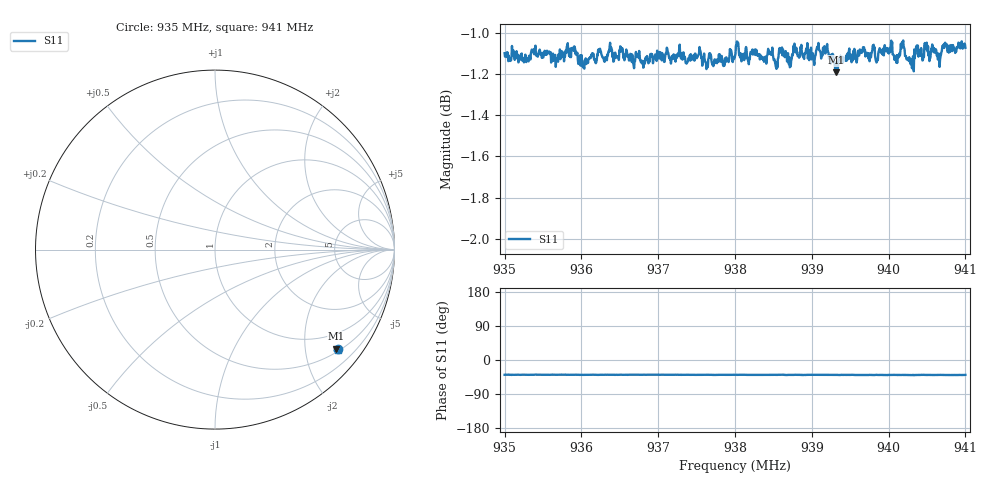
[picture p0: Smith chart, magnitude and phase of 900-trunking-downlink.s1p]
! Calibrated averaged scanner-service zoom
# Hz S RI R 50
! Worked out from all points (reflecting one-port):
!   1001 points, 935 MHz to 941 MHz, reference 50 ohm
!   lowest |S11| = -1.2 dB at 939.314 MHz (marker M1), VSWR 14.62, Z = 29.3 - j135 ohm
!   phase of S11 starts at -39 deg and turns -0 deg over the sweep
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9.35e8  0.6845 -0.5551
9.35306e8  0.68 -0.5546
9.35426e8  0.6879 -0.55
9.3557e8  0.6835 -0.5567
9.3575e8  0.6878 -0.5522
9.35834e8  0.685 -0.5565
9.36038e8  0.6781 -0.5508
9.36146e8  0.6853 -0.5519
9.3623e8  0.6829 -0.5583
9.365e8  0.6862 -0.554
9.36674e8  0.682 -0.55
9.3725e8  0.6844 -0.553
9.3773e8  0.6773 -0.5574
9.38e8  0.6862 -0.5506
9.38528e8  0.6781 -0.5533
9.38606e8  0.6862 -0.5557
9.3875e8  0.6815 -0.557
9.39176e8  0.685 -0.5541
9.39314e8  0.6756 -0.5512
9.395e8  0.6807 -0.5553
9.39956e8  0.6815 -0.5625
9.40112e8  0.6778 -0.5556
9.40178e8  0.6852 -0.563
9.4025e8  0.6777 -0.5591
9.40496e8  0.6841 -0.5637
9.4067e8  0.6798 -0.5559
9.40766e8  0.6782 -0.5638
9.41e8  0.6836 -0.5603
